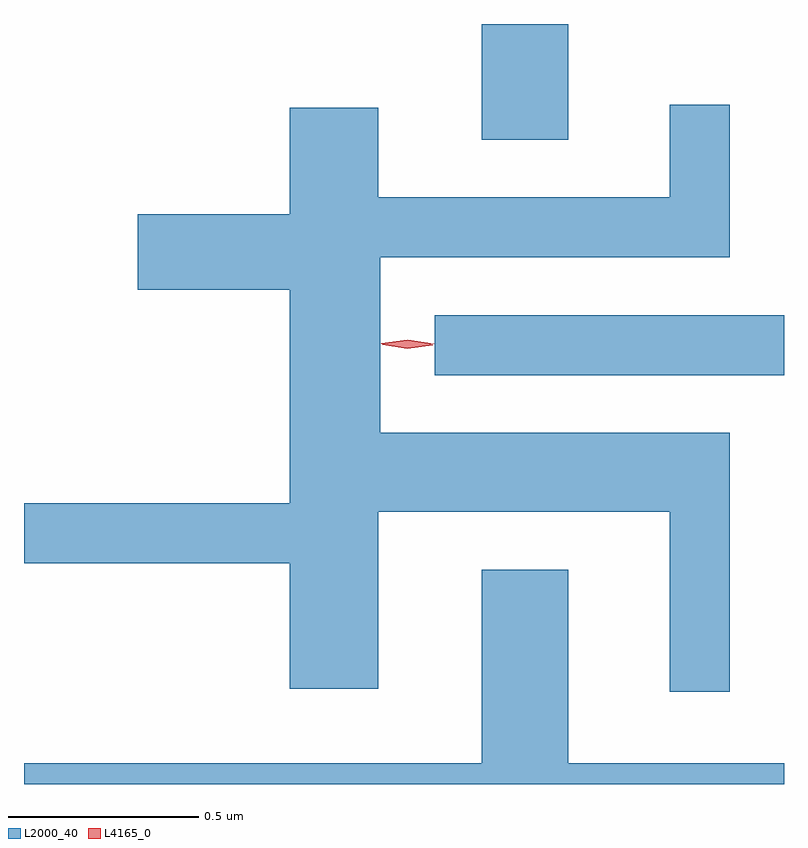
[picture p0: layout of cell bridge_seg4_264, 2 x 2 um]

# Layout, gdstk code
import gdstk
lib = gdstk.Library(unit=1e-6, precision=1e-09)
def R(c, l, rs):  # rectangles x0, y0, x1, y1
    for r in rs: c.add(gdstk.rectangle(r[:2], r[2:], *l))
def P(c, l, *ps):  # polygons
    for p in ps: c.add(gdstk.Polygon(p, *l))
L2000_40 = (2000, 40)
L4165_0 = (4165, 0)

bridge_seg4_264 = lib.new_cell('bridge_seg4_264')
R(bridge_seg4_264, L2000_40, [(664.858,1329.326,665.777,1329.484), (664.981,1329.946,665.209,1330.25)])
P(bridge_seg4_264, L2000_40, [(665.634,1329.174),(664.714,1329.174),(664.714,1329.636),(665.634,1329.636),(665.634,1330.038),(665.476,1330.038),(665.476,1329.794),(664.709,1329.794),(664.709,1330.029),(664.476,1330.029),(664.476,1329.749),(664.076,1329.749),(664.076,1329.551),(664.476,1329.551),(664.476,1328.989),(663.777,1328.989),(663.777,1328.831),(664.476,1328.831),(664.476,1328.501),(664.709,1328.501),(664.709,1328.966),(665.476,1328.966),(665.476,1328.493),(665.634,1328.493)],
  [(665.777,1328.304),(665.209,1328.304),(665.209,1328.814),(664.981,1328.814),(664.981,1328.304),(663.777,1328.304),(663.777,1328.25),(665.777,1328.25)])
P(bridge_seg4_264, L4165_0, [(664.786,1329.399),(664.717,1329.409),(664.717,1329.41),(664.717,1329.41),(664.787,1329.419),(664.856,1329.409),(664.856,1329.408),(664.856,1329.408)],
  [(664.786,1329.396),(664.721,1329.406),(664.72,1329.406),(664.721,1329.407),(664.787,1329.416),(664.852,1329.406),(664.853,1329.406),(664.852,1329.405)])

lib.write_gds('bridge_seg4_264.gds')
